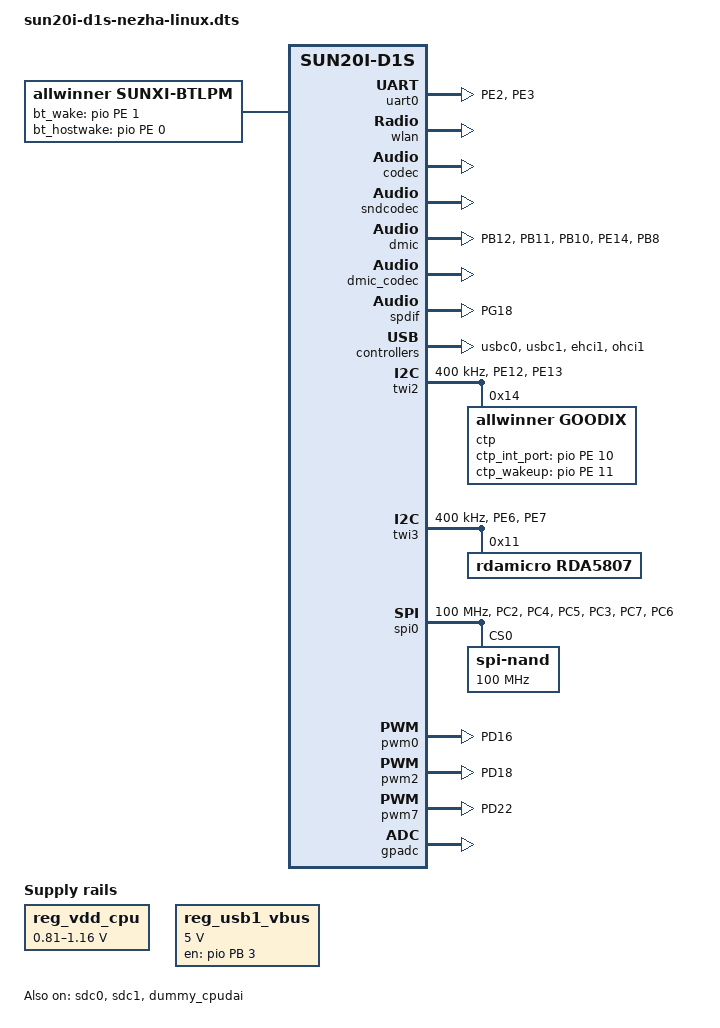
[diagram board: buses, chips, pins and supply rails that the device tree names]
/*
 * Allwinner Technology CO., Ltd. sun20iw1p1 fpga.
 *
 * fpga support.
 */

/dts-v1/;

#include "sun20iw1p1-linux.dtsi"

/{
	compatible = "allwinner,d1", "arm,sun20iw1p1", "allwinner,sun20iw1p1";

	aliases {
		dsp0 = &dsp0;
		dsp0_gpio_int= &dsp0_gpio_int;
	};

	dsp0: dsp0 {
		compatible = "allwinner,sun20iw1-dsp";
		status = "disabled";
	};

	dsp0_gpio_int: dsp0_gpio_int {
		compatible = "allwinner,sun20iw1-dsp-gpio-int";
		pin-group = "PB", "PC", "PD", "PE";
		status = "disabled";
	};

	reg_vdd_cpu: vdd-cpu {
		compatible = "sunxi-pwm-regulator";
		pwms = <&pwm 0 5000 1>;
		regulator-name = "vdd_cpu";
		regulator-min-microvolt = <810000>;
		regulator-max-microvolt = <1160000>;
		regulator-ramp-delay = <25>;
		regulator-always-on;
		regulator-boot-on;
		status = "okay";
	};

	reg_usb1_vbus: usb1-vbus {
		compatible = "regulator-fixed";
		regulator-name = "usb1-vbus";
		regulator-min-microvolt = <5000000>;
		regulator-max-microvolt = <5000000>;
		regulator-enable-ramp-delay = <1000>;
		gpio = <&pio PB 3 GPIO_ACTIVE_HIGH>;
		enable-active-high;
	};
};

&CPU0 {
	cpu-supply = <&reg_vdd_cpu>;
};

&pio {
	sdc0_pins_a: sdc0@0 {
		allwinner,pins = "PF0", "PF1", "PF2",
				 "PF3", "PF4", "PF5";
		allwinner,function = "sdc0";
		allwinner,muxsel = <2>;
		allwinner,drive = <3>;
		allwinner,pull = <1>;
		pins = "PF0", "PF1", "PF2",
		       "PF3", "PF4", "PF5";
		function = "sdc0";
		drive-strength = <30>;
		bias-pull-up;
		power-source = <3300>;
	};


	sdc0_pins_b: sdc0@1 {
		pins = "PF0", "PF1", "PF2",
		       "PF3", "PF4", "PF5";
		function = "sdc0";
		drive-strength = <30>;
		bias-pull-up;
		power-source = <1800>;
	};

	sdc0_pins_c: sdc0@2 {
		pins = "PF0", "PF1", "PF2",
			"PF3", "PF4", "PF5";
		function = "gpio_in";
	};

	/* TODO: add jtag pin */
	sdc0_pins_d: sdc0@3 {
		pins = "PF2", "PF4";
		function = "uart0";
		drive-strength = <10>;
		bias-pull-up;
	};

	sdc0_pins_e: sdc0@4 {
		pins = "PF0", "PF1", "PF3",
			"PF5";
		function = "jtag";
		drive-strength = <10>;
		bias-pull-up;
	};


	sdc1_pins_a: sdc1@0 {
		pins = "PG0", "PG1", "PG2",
		       "PG3", "PG4", "PG5";
		function = "sdc1";
		drive-strength = <30>;
		bias-pull-up;
	};

	sdc1_pins_b: sdc1@1 {
		pins = "PG0", "PG1", "PG2",
		       "PG3", "PG4", "PG5";
			function = "gpio_in";
	};

	sdc2_pins_a: sdc2@0 {
		allwinner,pins = "PC2", "PC3", "PC4",
				 "PC5", "PC6", "PC7";
		allwinner,function = "sdc2";
		allwinner,muxsel = <3>;
		allwinner,drive = <3>;
		allwinner,pull = <1>;
		pins = "PC2", "PC3", "PC4",
			"PC5", "PC6", "PC7";
		function = "sdc2";
		drive-strength = <30>;
		bias-pull-up;
	};

	sdc2_pins_b: sdc2@1 {
		pins = "PC2", "PC3", "PC4",
		       "PC5", "PC6", "PC7";
		function = "gpio_in";
	};

	wlan_pins_a:wlan@0 {
		pins = "PG11";
		function = "clk_fanout1";
	};

    uart0_pins_a: uart0_pins@0 {  /* For EVB1 board */
        pins = "PE2", "PE3";
        function = "uart0";
        drive-strength = <10>;
        bias-pull-up;
    };

    uart0_pins_b: uart0_pins@1 {  /* For EVB1 board */
        pins = "PE2", "PE3";
        function = "gpio_in";
    };

	uart1_pins_a: uart1_pins@0 {  /* For EVB1 board */
		pins = "PG6", "PG7", "PG8", "PG9";
		function = "uart1";
		drive-strength = <10>;
		bias-pull-up;
	};

	uart1_pins_b: uart1_pins@1 {  /* For EVB1 board */
		pins = "PG6", "PG7", "PG8", "PG9";
		function = "gpio_in";
	};

	uart2_pins_a: uart2_pins@0 {  /* For EVB1 board */
		pins = "PC0", "PC1";
		function = "uart2";
		drive-strength = <10>;
		bias-pull-up;
	};

	uart2_pins_b: uart2_pins@1 {  /* For EVB1 board */
		pins = "PC0", "PC1";
		function = "gpio_in";
	};

	uart3_pins_a: uart3_pins@0 {  /* For EVB1 board */
		pins = "PB6", "PB7";
		function = "uart3";
		muxsel = <7>;
		drive-strength = <10>;
		bias-pull-up;
	};

	uart3_pins_b: uart3_pins@1 {  /* For EVB1 board */
		pins = "PB6", "PB7";
		function = "gpio_in";
	};

	twi0_pins_a: twi0@0 {
		pins = "PB10", "PB11";	/*sck sda*/
		function = "twi0";
		drive-strength = <10>;
	};

	twi0_pins_b: twi0@1 {
		pins = "PB10", "PB11";
		function = "gpio_in";
	};

	twi1_pins_a: twi1@0 {
		pins = "PB4", "PB5";
		function = "twi1";
		drive-strength = <10>;
	};

	twi1_pins_b: twi1@1 {
		pins = "PB4", "PB5";
		function = "gpio_in";
	};

    twi2_pins_a: twi2@0 {
            pins = "PE12", "PE13";
            function = "twi2";
            drive-strength = <10>;
    };

    twi2_pins_b: twi2@1 {
            pins = "PE12", "PE13";
            function = "gpio_in";
    };

	twi3_pins_a: twi3@0 {
		pins = "PE6", "PE7";
		function = "twi3";
		drive-strength = <10>;
	};

	twi3_pins_b: twi3@1 {
		pins = "PE6", "PE7";
		function = "gpio_in";
	};

	gmac_pins_a: gmac@0 {
		pins = "PE0", "PE1", "PE2", "PE3",
		       "PE4", "PE5", "PE6", "PE7",
		       "PE8", "PE9", "PE10", "PE11",
		       "PE12", "PE13", "PE14", "PE15";
		function = "gmac0";
		drive-strength = <10>;
	};

	gmac_pins_b: gmac@1 {
		pins = "PE0", "PE1", "PE2", "PE3",
		       "PE4", "PE5", "PE6", "PE7",
		       "PE8", "PE9", "PE10", "PE11",
		       "PE12", "PE13", "PE14", "PE15";
		function = "gpio_in";
	};

	dmic_pins_a: dmic@0 {
		/* DMIC_PIN: CLK, DATA0, DATA1, DATA2, DATA3*/
		pins = "PB12", "PB11", "PB10", "PE14", "PB8";
		function = "dmic";
		drive-strength = <20>;
		bias-disable;
	};

	dmic_pins_b: dmic@1 {
		pins = "PB12", "PB11", "PB10", "PE14", "PB8";
		function = "io_disabled";
		drive-strength = <20>;
		bias-disable;
	};

	daudio0_pins_a: daudio0@0 {
		pins = "PE17", "PE16", "PE15", "PE14", "PE13";
		function = "i2s0";
		drive-strength = <20>;
		bias-disable;
	};

	daudio0_pins_b: daudio0_sleep@0 {
		pins = "PE17", "PE16", "PE15", "PE14", "PE13";
		function = "io_disabled";
		drive-strength = <20>;
		bias-disable;
	};

	daudio1_pins_a: daudio1@0 {
		pins = "PG11", "PG12", "PG13", "PG14", "PG15";
		function = "i2s1";
		drive-strength = <20>;
		bias-disable;
	};

	daudio1_pins_b: daudio1_sleep@0 {
		pins = "PG11", "PG12", "PG13", "PG14", "PG15";
		function = "io_disabled";
		drive-strength = <20>;
		bias-disable;
	};

	daudio2_pins_a: daudio2@0 {
		/* I2S_PIN: MCLK, BCLK, LRCK */
		pins = "PF6", "PF3", "PF5";
		function = "i2s2";
		drive-strength = <20>;
		bias-disable;
	};

	daudio2_pins_b: daudio2@1 {
		/* I2S_PIN: DOUT0 */
		pins = "PF1";
		function = "i2s2_dout";
		drive-strength = <20>;
		bias-disable;
	};

	daudio2_pins_c: daudio2@2 {
		/* I2S_PIN: DIN0 */
		pins = "PF0";
		function = "i2s2_din";
		drive-strength = <20>;
		bias-disable;
	};

	daudio2_pins_d: daudio2_sleep@0 {
		pins = "PF6", "PF3", "PF5", "PF1", "PF0";
		function = "io_disabled";
		drive-strength = <20>;
		bias-disable;
	};

	spdif_pins_a: spdif@0 {
		/* SPDIF_PIN: SPDIF_OUT */
		pins = "PG18";
		function = "spdif";
		drive-strength = <20>;
		bias-disable;
	};

	spdif_pins_b: spdif_sleep@0 {
		pins = "PG18";
		function = "io_disabled";
		drive-strength = <20>;
		bias-disable;
	};

	spi0_pins_a: spi0@0 {
		pins = "PC2", "PC4", "PC5"; /* clk, mosi, miso */
		function = "spi0";
		muxsel = <2>;
		drive-strength = <20>;
	};

	spi0_pins_b: spi0@1 {
		pins = "PC3", "PC7", "PC6";
		function = "spi0";
		muxsel = <2>;
		drive-strength = <20>;
		bias-pull-up;   /* cs, hold, wp should be pulled up */
	};

	spi0_pins_c: spi0@2 {
		pins = "PC2", "PC3", "PC4", "PC5","PC6", "PC7";
		function = "gpio_in";
		muxsel = <0>;
		drive-strength = <10>;
	};

	spi1_pins_a: spi1@0 {
		pins = "PD11", "PD12", "PD13"; /* clk, mosi, miso */
		function = "spi1";
		drive-strength = <10>;
	};

	spi1_pins_b: spi1@1 {
		pins = "PD10", "PD14", "PD15";
		function = "spi1";
		drive-strength = <10>;
		bias-pull-up;   /* cs, hold, wp should be pulled up */
	};

	spi1_pins_c: spi1@2 {
		pins = "PD10", "PD11", "PD12", "PD13","PD14", "PD15";
		function = "gpio_in";
		drive-strength = <10>;
	};

	ledc_pins_a: ledc@0 {
		pins = "PC0";
		function = "ledc";
		drive-strength = <10>;
	};

	ledc_pins_b: ledc@1 {
		pins = "PC0";
		function = "gpio_in";
	};

	pwm0_pin_a: pwm0@0 {
		pins = "PD16";
		function = "pwm0";
		drive-strength = <10>;
		bias-pull-up;
	};

	pwm0_pin_b: pwm0@1 {
		pins = "PD16";
		function = "gpio_in";
		bias-disable;
	};

	pwm2_pin_a: pwm2@0 {
		pins = "PD18";
		function = "pwm2";
		drive-strength = <10>;
		bias-pull-up;
	};

	pwm2_pin_b: pwm2@1 {
		pins = "PD18";
		function = "gpio_out";
	};

	pwm7_pin_a: pwm7@0 {
		pins = "PD22";
		function = "pwm7";
		drive-strength = <10>;
		bias-pull-up;
	};

	pwm7_pin_b: pwm7@1 {
		pins = "PD22";
		function = "gpio_in";
	};


	s_cir0_pins_a: s_cir@0 {
		pins = "PB7";
		function = "ir";
		drive-strength = <10>;
		bias-pull-up;
	};

	s_cir0_pins_b: s_cir@1 {
		pins = "PB7";
		function = "gpio_in";
	};

	ir1_pins_a: ir1@0 {
		pins = "PB0";
		function = "ir";
		drive-strength = <10>;
		bias-pull-up;
	};

	ir1_pins_b: ir1@1 {
		pins = "PB0";
		function = "gpio_in";
	};

	can0_pins_a: can0_pins_a@0 {
		pins = "PB2", "PB3";
		function = "can0";
		drive-strength = <10>;
		bias-pull-up;
	};

	can0_pins_b: can0_pins_b@1 {
		pins = "PB2", "PB3";
		function = "gpio_in";
	};

	can1_pins_a: can1_pins_a@0 {
		pins = "PB4", "PB5";
		function = "can1";
		drive-strength = <10>;
		bias-pull-up;
	};

	can1_pins_b: can1_pins_b@1 {
		pins = "PB4", "PB5";
		function = "gpio_in";
	};
};

&uart0 {
	pinctrl-names = "default", "sleep";
	pinctrl-0 = <&uart0_pins_a>;
	pinctrl-1 = <&uart0_pins_b>;
	status = "okay";
};

&uart1 {
	pinctrl-names = "default", "sleep";
	pinctrl-0 = <&uart1_pins_a>;
	pinctrl-1 = <&uart1_pins_b>;
	status = "disabled";
};

&uart2 {
	pinctrl-names = "default", "sleep";
	pinctrl-0 = <&uart2_pins_a>;
	pinctrl-1 = <&uart2_pins_b>;
	status = "disabled";
};

&uart3 {
	pinctrl-names = "default", "sleep";
	pinctrl-0 = <&uart3_pins_a>;
	pinctrl-1 = <&uart3_pins_b>;
	status = "disabled";
};

&soc {
	card0_boot_para@2 {
		/*
		 * Avoid dtc compiling warnings.
		 * @TODO: Developer should modify this to the actual value
		 */
		reg = <0x0 0x2 0x0 0x0>;
		device_type = "card0_boot_para";
		card_ctrl = <0x0>;
		card_high_speed = <0x1>;
		card_line = <0x4>;
		pinctrl-0 = <&sdc0_pins_a>;
	};

	card2_boot_para@3 {
		/*
		 * Avoid dtc compiling warnings.
		 * @TODO: Developer should modify this to the actual value
		 */
		reg = <0x0 0x3 0x0 0x0>;
		device_type = "card2_boot_para";
		card_ctrl = <0x2>;
		card_high_speed = <0x1>;
		card_line = <0x4>;
		pinctrl-0 = <&sdc2_pins_a>;
		/*pinctrl-0 = <&sdc0_pins_a>;*/
		/*sdc_ex_dly_used = <0x2>;*/
		sdc_io_1v8 = <0x1>;
		/*sdc_type = "tm4";*/
		sdc_tm4_hs200_max_freq = <150>;
		sdc_tm4_hs400_max_freq = <100>;
		sdc_ex_dly_used = <2>;
		/*sdc_tm4_win_th = <8>;*/
		/*sdc_dis_host_caps = <0x180>;*/
	};

	rfkill: rfkill@0 {
		compatible    = "allwinner,sunxi-rfkill";
		chip_en;
		power_en;
		pinctrl-0 = <&wlan_pins_a>;
		pinctrl-names = "default";
		status        = "okay";

		wlan: wlan@0 {
			compatible    = "allwinner,sunxi-wlan";
			wlan_busnum    = <0x1>;
			wlan_regon    = <&pio PE 3 GPIO_ACTIVE_HIGH>;
			wlan_hostwake  = <&pio PG 10 GPIO_ACTIVE_HIGH>;
			/*wlan_power    = "VCC-3V3";*/
			/*wlan_power_vol = <3300000>;*/
			/*interrupt-parent = <&pio>;
			interrupts = < PG 10 IRQ_TYPE_LEVEL_HIGH>;*/
			wakeup-source;

		};
		
		bt: bt@0 {
			compatible    = "allwinner,sunxi-bt";
			/*bt_power_num = <0x01>;*/
			/*bt_power      = "axp803-dldo1";*/
			/*bt_io_regulator = "axp803-dldo1";*/
			/*bt_io_vol = <3300000>;*/
			/*bt_power_vol = <330000>;*/
			bt_rst_n      = <&pio PE 2 GPIO_ACTIVE_LOW>;
			status        = "okay";
		};
	};

	btlpm: btlpm@0 {
		compatible  = "allwinner,sunxi-btlpm";
		uart_index  = <0x1>;
		bt_wake     = <&pio PE 1 GPIO_ACTIVE_HIGH>;
		bt_hostwake = <&pio PE 0 GPIO_ACTIVE_HIGH>;
		status      = "okay";
	};

	addr_mgt: addr_mgt@0 {
		compatible     = "allwinner,sunxi-addr_mgt";
		type_addr_wifi = <0x0>;
		type_addr_bt   = <0x0>;
		type_addr_eth  = <0x0>;
		status         = "okay";
	};
};

&sdc2 {
	non-removable;
	bus-width = <4>;
	mmc-ddr-1_8v;
	mmc-hs200-1_8v;
	no-sdio;
	no-sd;
	ctl-spec-caps = <0x308>;
	cap-mmc-highspeed;
	sunxi-power-save-mode;
	sunxi-dis-signal-vol-sw;
	mmc-bootpart-noacc;
	max-frequency = <150000000>;
	/*vmmc-supply = <&reg_dcdc1>;*/
	/*emmc io vol 3.3v*/
	/*vqmmc-supply = <&reg_aldo1>;*/
	/*emmc io vol 1.8v*/
	/*vqmmc-supply = <&reg_eldo1>;*/
	status = "disabled";
};

&sdc0 {
	bus-width = <4>;
	/*cd-gpios = <&pio PF 6 (GPIO_ACTIVE_HIGH | GPIO_PULL_DOWN)>;*/
	/*non-removable;*/
	/*broken-cd;*/
	/*cd-inverted;*/
	/*data3-detect;*/
	/*card-pwr-gpios = <&pio PH 14 1 1 2 0xffffffff>;*/
	/*cd-used-24M;*/
	cap-sd-highspeed;
	/*sd-uhs-sdr50;*/
	/*sd-uhs-ddr50;*/
	/*sd-uhs-sdr104;*/
	broken-cd;
	no-sdio;
	no-mmc;
	sunxi-power-save-mode;
	/*sunxi-dis-signal-vol-sw;*/
	max-frequency = <150000000>;
	ctl-spec-caps = <0x8>;
	/*vmmc-supply = <&reg_dcdc1>;*/
	/*vqmmc33sw-supply = <&reg_dcdc1>;*/
	/*vdmmc33sw-supply = <&reg_dcdc1>;*/
	/*vqmmc18sw-supply = <&reg_eldo1>;*/
	/*vdmmc18sw-supply = <&reg_eldo1>;*/
	status = "okay";
};

&sdc1 {
	bus-width = <4>;
	no-mmc;
	no-sd;
	cap-sd-highspeed;
	/*sd-uhs-sdr12*/
	/*sd-uhs-sdr25;*/
	/*sd-uhs-sdr50;*/
	/*sd-uhs-ddr50;*/
	/*sd-uhs-sdr104;*/
	/*sunxi-power-save-mode;*/
	/*sunxi-dis-signal-vol-sw;*/
	cap-sdio-irq;
	keep-power-in-suspend;
	ignore-pm-notify;
	max-frequency = <150000000>;
	ctl-spec-caps = <0x8>;
	status = "okay";
};

/*
tvd configuration
used                   (create device, 0: do not create device, 1: create device)
agc_auto_enable        (0: agc manual mode,agc_manual_value is valid; 1: agc auto mode)
agc_manual_value       (agc manual value, default value is 64)
cagc_enable            (cagc        0: disable, 1: enable)
fliter_used            (3d fliter   0: disable, 1: enable)
support two PMU power  (tvd_power0, tvd_power1)
support two GPIO power (tvd_gpio0, tvd_gpio1)
NOTICE: If tvd need pmu power or gpio power,params need be configured under [tvd]
tvd_sw                 (the switch of all tvd driver.)
tvd_interface          (0: cvbs, 1: ypbpr,)
tvd_format             (0:TVD_PL_YUV420 , 1: MB_YUV420, 2: TVD_PL_YUV422)
tvd_system             (0:ntsc, 1:pal)
tvd_row                (total row number in multi channel mode 1-2)
tvd_column             (total column number in multi channel mode 1-2)
tvd_channelx_en        (0:disable, 1~4:position in multi channel mode,In single channel
                       mode,mean enable)
tvd_row*tvd_column is the total tvd channel number to be used in multichannel mode
+--------------------+--------------------+
|                    |                    |
|                    |                    |
|         1          |         2          |
|                    |                    |
|                    |                    |
+--------------------+--------------------+
|                    |                    |
|                    |                    |
|         3          |         4          |
|                    |                    |
|                    |                    |
+--------------------+--------------------+
*/

&tvd {
	tvd_sw          = <1>;
	tvd_interface   = <0>;
	tvd_format      = <0>;
	tvd_system      = <1>;
	tvd_row         = <1>;
	tvd_column      = <1>;
	tvd_channel0_en = <1>;
	tvd_channel1_en = <0>;
	tvd_channel2_en = <0>;
	tvd_channel3_en = <0>;
	/*tvd_gpio0 = <&pio PD 22 GPIO_ACTIVE_HIGH>;*/
	/*tvd_gpio1 = <&pio PD 23 GPIO_ACTIVE_HIGH>;*/
	/*tvd_gpio2 = <&pio PD 24 GPIO_ACTIVE_HIGH>;*/
	/*	dc1sw-supply = <&reg_dc1sw>;*/
	/*	eldo3-supply = <&reg_eldo3>;*/
	/*tvd_power0      = "dc1sw"*/
	/*tvd_power1      = "eldo3"*/
};

&tvd0 {
	used                    = <1>;
	agc_auto_enable         = <1>;
	agc_manual_value        = <64>;
	cagc_enable             = <1>;
	fliter_used             = <1>;
};

/* Audio Driver modules */
&sunxi_rpaf_dsp0 {
	status = "disabled";
};

/* if audiocodec is used, sdc0 and uart0 should be closed to enable PA. */
&codec {
	/* MIC and headphone gain setting */
	mic1gain 	= <0x1F>;
	mic2gain 	= <0x1F>;
	mic3gain 	= <0x1F>;
	/* ADC/DAC DRC/HPF func enabled */
        /* 0x1:DAP_HP_EN; 0x2:DAP_SPK_EN; 0x3:DAP_HPSPK_EN */
	adcdrc_cfg 	= <0x0>;
	adchpf_cfg 	= <0x1>;
	dacdrc_cfg 	= <0x0>;
	dachpf_cfg 	= <0x0>;
	/* Volume about */
	digital_vol 	= <0x00>;
	lineout_vol 	= <0x1a>;
	headphonegain	= <0x03>;
	/* Pa enabled about */
	pa_level 	= <0x01>;
	pa_pwr_level 	= <0x01>;
	pa_msleep_time 	= <0x78>;
	/* gpio-spk	= <&pio PF 2 GPIO_ACTIVE_HIGH>;*/
	/* gpio-spk-pwr	= <&pio PF 4 GPIO_ACTIVE_HIGH>; */
	/* CMA config about */
	playback_cma	= <128>;
	capture_cma	= <256>;
	/* regulator about */
	/* avcc-supply	= <&reg_aldo1>; */
	/* hpvcc-supply	= <&reg_eldo1>; */
	status = "okay";
};

&sndcodec {
	hp_detect_case = <0x01>;
	jack_enable = <0x01>;
	status = "okay";
};

&dummy_cpudai {
	/* CMA config about */
	playback_cma = <128>;
	capture_cma = <256>;
	status = "okay";
};

&dmic {
	pinctrl-names   = "default","sleep";
	pinctrl-0       = <&dmic_pins_a>;
	pinctrl-1       = <&dmic_pins_b>;
	status = "okay";
};

&dmic_codec {
	status = "okay";
};

&sounddmic {
	status = "okay";
};

/*-----------------------------------------------------------------------------
 * pcm_lrck_period	16/32/64/128/256
 *			(set 0x20 for HDMI audio out)
 * slot_width_select	16bits/20bits/24bits/32bits
 *			(set 0x20 for HDMI audio out)
 * frametype		0 --> short frame = 1 clock width;
 *			1 --> long frame = 2 clock width;
 * tdm_config		0 --> pcm
 *			1 --> i2s
 *			(set 0x01 for HDMI audio out)
 * mclk_div		0 --> not output
 *			1/2/4/6/8/12/16/24/32/48/64/96/128/176/192
 *			(set mclk as external codec clk source, freq is pll_audio/mclk_div)
 * pinctrl_used		0 --> I2S/PCM use for internal (e.g. HDMI)
 *			1 --> I2S/PCM use for external audio
 * daudio_type:		0 --> external audio type
 *			1 --> HDMI audio type
 *---------------------------------------------------------------------------*/
&daudio0 {
	mclk_div 	= <0x01>;
	frametype 	= <0x00>;
	tdm_config 	= <0x01>;
	sign_extend 	= <0x00>;
	msb_lsb_first 	= <0x00>;
	pcm_lrck_period = <0x80>;
	slot_width_select = <0x20>;
	pinctrl-names   = "default", "sleep";
	pinctrl-0       = <&daudio0_pins_a>;
	pinctrl-1       = <&daudio0_pins_b>;
	pinctrl_used	= <0x0>;
	status = "disabled";
};

/*-----------------------------------------------------------------------------
 * simple-audio-card,name	name of sound card, e.g.
 *				"snddaudio0" --> use for external audio
 *				"sndhdmi" --> use for HDMI audio
 * sound-dai			"snd-soc-dummy" --> use for I2S
 *				"hdmiaudio" --> use for HDMI audio
 *				"ac108" --> use for external audio of ac108
 *---------------------------------------------------------------------------*/
&sounddaudio0 {
	/* simple-audio-card,format = "i2s"; */
	/* simple-audio-card,frame-master = <&daudio0_master>; */
	/* simple-audio-card,bitclock-master = <&daudio0_master>; */
	/* simple-audio-card,bitclock-inversion; */
	/* simple-audio-card,frame-inversion; */
	status = "disabled";
	daudio0_master: simple-audio-card,codec {
		/* sound-dai = <&ac108>; */
	};
};

&daudio1 {
	mclk_div 	= <0x01>;
	frametype 	= <0x00>;
	tdm_config 	= <0x01>;
	sign_extend 	= <0x00>;
	msb_lsb_first 	= <0x00>;
	pcm_lrck_period = <0x80>;
	slot_width_select = <0x20>;
	pinctrl-names   = "default", "sleep";
	pinctrl-0       = <&daudio1_pins_a>;
	pinctrl-1       = <&daudio1_pins_b>;
	pinctrl_used	= <0x0>;
	status = "disabled";
};

&sounddaudio1 {
	status = "disabled";
	daudio1_master: simple-audio-card,codec {
		/* sound-dai = <&ac108>; */
	};
};

&daudio2 {
	mclk_div 	= <0x01>;
	frametype 	= <0x00>;
	tdm_config 	= <0x01>;
	sign_extend 	= <0x00>;
	tx_data_mode 	= <0x00>;
	rx_data_mode 	= <0x00>;
	msb_lsb_first 	= <0x00>;
	pcm_lrck_period = <0x80>;
	slot_width_select = <0x20>;
	asrc_function_en  = <0x00>;
	pinctrl-names   = "default", "sleep";
	pinctrl-0       = <&daudio2_pins_a &daudio2_pins_b &daudio2_pins_c>;
	pinctrl-1       = <&daudio2_pins_d>;
	pinctrl_used	= <0x1>;
	daudio_type	= <0x0>;
	status = "disabled";
};

/* if HDMI audio is used, daudio2 should be enable. */
&hdmiaudio {
	status = "disabled";
};

&sounddaudio2 {
	status = "okay";
	daudio2_master: simple-audio-card,codec {
		/* sound-dai = <&ac108>; */
	};
};

&spdif {
	pinctrl-names   = "default","sleep";
	pinctrl-0       = <&spdif_pins_a>;
	pinctrl-1       = <&spdif_pins_b>;
	status = "okay";
};

&soundspdif {
	status = "okay";
};

/*
 *usb_port_type: usb mode. 0-device, 1-host, 2-otg.
 *usb_detect_type: usb hotplug detect mode. 0-none, 1-vbus/id detect, 2-id/dpdm detect.
 *usb_detect_mode: 0-thread scan, 1-id gpio interrupt.
 *usb_id_gpio: gpio for id detect.
 *usb_det_vbus_gpio: gpio for id detect. gpio or "axp_ctrl";
 *usb_wakeup_suspend：0-SUPER_STANDBY, 1-USB_STANDBY.
 */
&usbc0 {
	device_type = "usbc0";
	usb_port_type = <0x0>;
	usb_detect_type = <0x0>;
	usb_detect_mode = <0>;
	usb_id_gpio = <&pio PB 6 GPIO_ACTIVE_HIGH>; /*unused */
	enable-active-high;
	usb_det_vbus_gpio = <&pio PB 2 GPIO_ACTIVE_HIGH>;/*unused */
	usb_wakeup_suspend = <0>;
	usb_serial_unique = <0>;
	usb_serial_number = "20080411";
	rndis_wceis = <1>;
	status = "okay";
};

&ehci0 {
	drvvbus-supply = <&reg_usb1_vbus>;
};

&ohci0 {
	drvvbus-supply = <&reg_usb1_vbus>;
};

&usbc1 {
	device_type = "usbc1";
	usb_port_type = <1>;
	sb_detect_type = <1>;
	usb_regulator_io = "nocare";
	usb_wakeup_suspend = <0>;
	status = "okay";
};

&ehci1 {
	status = "okay";
};

&ohci1 {
	status = "okay";
};

&twi0 {
	clock-frequency = <400000>;
	pinctrl-0 = <&twi0_pins_a>;
	pinctrl-1 = <&twi0_pins_b>;
	pinctrl-names = "default", "sleep";
	status = "disabled";

	eeprom@50 {
		compatible = "atmel,24c16";
		reg = <0x50>;
		status = "disabled";
	};
};

&twi1 {
	clock-frequency = <400000>;
	pinctrl-0 = <&twi1_pins_a>;
	pinctrl-1 = <&twi1_pins_b>;
	pinctrl-names = "default", "sleep";
	status = "disabled";
};

&twi2 {
	clock-frequency = <400000>;
	pinctrl-0 = <&twi2_pins_a>;
	pinctrl-1 = <&twi2_pins_b>;
	pinctrl-names = "default", "sleep";
	dmas = <&dma 45>, <&dma 45>;
	dma-names = "tx", "rx";
	status = "okay";

	/* pcf8574-usage:
	 * only use gpio0~7, 0 means PP0.
	 * pin set:
	 * gpios = <&pcf8574 0 GPIO_ACTIVE_LOW>;
	 * interrupt set:
	 * interrupt-parent = <&pcf8574>;
	 * interrupts = <0 IRQ_TYPE_EDGE_FALLING>;
	 */
	pcf8574: gpio@38 {
		compatible = "nxp,pcf8574";
		reg = <0x38>;
		gpio_base = <2020>;
		gpio-controller;
		#gpio-cells = <2>;
		interrupt-controller;
		#interrupt-cells = <2>;
		interrupt-parent = <&pio>;
		interrupts = <PB 2 IRQ_TYPE_EDGE_FALLING>;
		status = "disabled";
	};

	ctp@14 {
    	compatible = "allwinner,goodix";
        device_type = "ctp";
        reg = <0x14>;
        status = "okay";
        ctp_name = "gt9xxnew_ts";
        ctp_twi_id = <0x2>;
        ctp_twi_addr = <0x14>;
        ctp_screen_max_x = <0x320>;
        ctp_screen_max_y = <0x1e0>;
        ctp_revert_x_flag = <0x0>;
        ctp_revert_y_flag = <0x0>;
        ctp_exchange_x_y_flag = <0x0>;
        ctp_int_port = <&pio PE 10 GPIO_ACTIVE_HIGH>;
        ctp_wakeup = <&pio PE 11 GPIO_ACTIVE_HIGH>;
        /*ctp-supply = <&reg_aldo2>;*/
        /*ctp_power_ldo = <&reg_aldo2>;*/
        /*ctp_power_ldo_vol = <3300>;*/
	};
};

&twi3 {
	clock-frequency = <400000>;
	pinctrl-0 = <&twi3_pins_a>;
	pinctrl-1 = <&twi3_pins_b>;
	pinctrl-names = "default", "sleep";
	status = "okay";
	rda5807@11 {
		compatible = "rdamicro,rda5807";
		reg = <0x11>;
		lnap;
		lna-current = <2500>;
		analog-out;
	};
};

&gmac0 {
	phy-mode = "rgmii";
	use_ephy25m = <1>;
	pinctrl-0 = <&gmac_pins_a>;
	pinctrl-1 = <&gmac_pins_b>;
	pinctrl-names = "default", "sleep";
	phy-rst = <&pio PE 16 GPIO_ACTIVE_HIGH>;
	tx-delay = <3>; /*2~4*/
	rx-delay = <0>;
	status = "disabled";
};

&spi0 {
	clock-frequency = <100000000>;
	pinctrl-0 = <&spi0_pins_a &spi0_pins_b>;
	pinctrl-1 = <&spi0_pins_c>;
	pinctrl-names = "default", "sleep";
	/*spi-supply = <&reg_dcdc1>;*/
	spi_slave_mode = <0>;
	spi0_cs_number = <1>;
    spi0_cs_bitmap = <1>;
	status = "okay";

	spi-nand@0 {
		compatible = "spi-nand";
		spi-max-frequency=<100000000>;
		reg = <0x0>;
		spi-rx-bus-width=<0x01>;
		spi-tx-bus-width=<0x01>;
		status="okay";
	};

	spi-nor@0 {
		compatible = "jedec,spi-nor";
		spi-max-frequency=<30000000>;
		reg = <0x0>;
		spi-rx-bus-width=<0x01>;
		spi-tx-bus-width=<0x01>;
		status="disabled";
	};
};

&spi1 {
	clock-frequency = <100000000>;
	pinctrl-0 = <&spi1_pins_a &spi1_pins_b>;
	pinctrl-1 = <&spi1_pins_c>;
	pinctrl-names = "default", "sleep";
	spi_slave_mode = <0>;
	status = "disabled";

	spi_board1@0 {
		device_type = "spi_board1";
		compatible = "rohm,dh2228fv";
		spi-max-frequency = <0x5f5e100>;
		reg = <0x0>;
		spi-rx-bus-width = <0x4>;
		spi-tx-bus-width = <0x4>;
		status = "disabled";
	};
};

&ledc {
	pinctrl-names = "default", "sleep";
	pinctrl-0 = <&ledc_pins_a>;
	pinctrl-1 = <&ledc_pins_b>;
	led_count = <12>;
	output_mode = "GRB";
	reset_ns = <84>;
	t1h_ns = <800>;
	t1l_ns = <320>;
	t0h_ns = <300>;
	t0l_ns = <800>;
	wait_time0_ns = <84>;
	wait_time1_ns = <84>;
	wait_data_time_ns = <600000>;
	status	= "disabled";
};

&keyboard0 {
	key0 = <210 0x160>;
	wakeup-source;
	status = "disabled";
};

/*----------------------------------------------------------------------------------
disp init configuration

disp_mode             (0:screen0<screen0,fb0>)
screenx_output_type   (0:none; 1:lcd; 2:tv; 3:hdmi;5:vdpo)
screenx_output_mode   (used for hdmi output, 0:480i 1:576i 2:480p 3:576p 4:720p50)
                      (5:720p60 6:1080i50 7:1080i60 8:1080p24 9:1080p50 10:1080p60)
screenx_output_format (for hdmi, 0:RGB 1:yuv444 2:yuv422 3:yuv420)
screenx_output_bits   (for hdmi, 0:8bit 1:10bit 2:12bit 2:16bit)
screenx_output_eotf   (for hdmi, 0:reserve 4:SDR 16:HDR10 18:HLG)
screenx_output_cs     (for hdmi, 0:undefined  257:BT709 260:BT601  263:BT2020)
screenx_output_dvi_hdmi (for hdmi, 0:undefined 1:dvi mode 2:hdmi mode)
screen0_output_range   (for hdmi, 0:default 1:full 2:limited)
screen0_output_scan    (for hdmi, 0:no data 1:overscan 2:underscan)
screen0_output_aspect_ratio  (for hdmi, 8-same as original picture 9-4:3 10-16:9 11-14:9)
fbx format            (4:RGB655 5:RGB565 6:RGB556 7:ARGB1555 8:RGBA5551 9:RGB888 10:ARGB8888 12:ARGB4444)
fbx pixel sequence    (0:ARGB 1:BGRA 2:ABGR 3:RGBA)
fb0_scaler_mode_enable(scaler mode enable, used FE)
fbx_width,fbx_height  (framebuffer horizontal/vertical pixels, fix to output resolution while equal 0)
lcdx_backlight        (lcd init backlight,the range:[0,256],default:197
lcdx_yy               (lcd init screen bright/contrast/saturation/hue, value:0~100, default:50/50/57/50)
lcd0_contrast         (LCD contrast, 0~100)
lcd0_saturation       (LCD saturation, 0~100)
lcd0_hue              (LCD hue, 0~100)
framebuffer software rotation setting:
disp_rotation_used:   (0:disable; 1:enable,you must set fbX_width to lcd_y,
set fbX_height to lcd_x)
degreeX:              (X:screen index; 0:0 degree; 1:90 degree; 3:270 degree)
degreeX_Y:            (X:screen index; Y:layer index 0~15; 0:0 degree; 1:90 degree; 3:270 degree)
devX_output_type : config output type in bootGUI framework in UBOOT-2018.
				   (0:none; 1:lcd; 2:tv; 4:hdmi;)
devX_output_mode : config output resolution(see include/video/sunxi_display2.h) of bootGUI framework in UBOOT-2018
devX_screen_id   : config display index of bootGUI framework in UBOOT-2018
devX_do_hpd      : whether do hpd detectation or not in UBOOT-2018
chn_cfg_mode     : Hardware DE channel allocation config. 0:single display with 6
				   channel, 1:dual display with 4 channel in main display and 2 channel in second
                   display, 2:dual display with 3 channel in main display and 3 channel in second
                   in display.
----------------------------------------------------------------------------------*/
&disp {
	disp_init_enable         = <1>;
	disp_mode                = <0>;

	screen0_output_type      = <1>;
	screen0_output_mode      = <4>;

	screen1_output_type      = <3>;
	screen1_output_mode      = <10>;

	screen1_output_format    = <0>;
	screen1_output_bits      = <0>;
	screen1_output_eotf      = <4>;
	screen1_output_cs        = <257>;
	screen1_output_dvi_hdmi  = <2>;
	screen1_output_range     = <2>;
	screen1_output_scan      = <0>;
	screen1_output_aspect_ratio = <8>;

	dev0_output_type         = <1>;
	dev0_output_mode         = <4>;
	dev0_screen_id           = <0>;
	dev0_do_hpd              = <0>;

	dev1_output_type         = <4>;
	dev1_output_mode         = <10>;
	dev1_screen_id           = <1>;
	dev1_do_hpd              = <1>;

	def_output_dev           = <0>;
	hdmi_mode_check          = <1>;

	fb0_format               = <0>;
	fb0_width                = <0>;
	fb0_height               = <0>;

	fb1_format               = <0>;
	fb1_width                = <0>;
	fb1_height               = <0>;
	chn_cfg_mode             = <1>;

	disp_para_zone           = <1>;
	/*VCC-LCD*/
/*	dc1sw-supply = <&reg_dc1sw>;*/
	/*VCC-DSI*/
/*	eldo3-supply = <&reg_eldo3>;*/
	/*VCC-PD*/
/*	dcdc1-supply = <&reg_dcdc1>;*/
};

/*----------------------------------------------------------------------------------
;lcd0 configuration

;lcd_if:               0:hv(sync+de); 1:8080; 2:ttl; 3:lvds; 4:dsi; 5:edp; 6:extend dsi
;lcd_hv_if             0:Parallel RGB; 8:Serial RGB; 10:Dummy RGB; 11: RGB Dummy;12:CCIR656
;lcd_hv_clk_phase      0:0 degree;1:90 degree;2:180 degree;3:270 degree
;lcd_hv_sync_polarity  0:vs low,hs low; 1:vs high,hslow; 2:vs low,hs high; 3:vs high,hs high
;lcd_hv_syuv_seq       0:YUYV; 1:YVYU; 2:UYVY; 3:VYUY
;lcd_cpu_if            0:18bit/1 cycle parallel(RGB666); 4:16bit/1cycle parallel (RGB565)
;                      6:18bit/3 cycle parallel(RGB666); 7:16bit/2cycle parallel (RGB565)
;lcd_cpu_te            0:frame auto trigger; 1:frame triggered by te rising edge; 2:frame triggered by te falling edge;
;lcd_dsi_if            0:video mode; 1: Command mode; 2:video burst mode
;lcd_dsi_te            0:frame auto trigger; 1:frame triggered by te rising edge; 2:frame triggered by te falling edge;
;lcd_x:                lcd horizontal resolution
;lcd_y:                lcd vertical resolution
;lcd_width:            width of lcd in mm
;lcd_height:           height of lcd in mm
;lcd_dclk_freq:        in MHZ unit
;lcd_pwm_freq:         in HZ unit
;lcd_pwm_pol:          lcd backlight PWM polarity
;lcd_pwm_max_limit     lcd backlight PWM max limit(<=255)
;lcd_hbp:              hsync back porch(pixel) + hsync plus width(pixel);
;lcd_ht:               hsync total cycle(pixel)
;lcd_vbp:              vsync back porch(line) + vysnc plus width(line)
;lcd_vt:               vysnc total cycle(line)
;lcd_hspw:             hsync plus width(pixel)
;lcd_vspw:             vysnc plus width(pixel)
;lcd_lvds_if:          0:single link;  1:dual link
;lcd_lvds_colordepth:  0:8bit; 1:6bit
;lcd_lvds_mode:        0:NS mode; 1:JEIDA mode
;lcd_frm:              0:disable; 1:enable rgb666 dither; 2:enable rgb656 dither
;lcd_io_phase:         0:noraml; 1:intert phase(0~3bit: vsync phase; 4~7bit:hsync phase;
;                      8~11bit:dclk phase; 12~15bit:de phase)
;lcd_gamma_en          lcd gamma correction enable
;lcd_bright_curve_en   lcd bright curve correction enable
;lcd_cmap_en           lcd color map function enable
;deu_mode              0:smoll lcd screen; 1:large lcd screen(larger than 10inch)
;lcdgamma4iep:         Smart Backlight parameter, lcd gamma vale * 10;
;                      decrease it while lcd is not bright enough; increase while lcd is too bright
;smart_color           90:normal lcd screen 65:retina lcd screen(9.7inch)
;Pin setting for special function ie.LVDS, RGB data or vsync
;   name(donot care) = port:PD12<pin function><pull up or pull down><drive ability><output level>
;Pin setting for gpio:
;   lcd_gpio_X     = port:PD12<pin function><pull up or pull down><drive ability><output level>
;Pin setting for backlight enable pin
;   lcd_bl_en     = port:PD12<pin function><pull up or pull down><drive ability><output level>
;fsync setting, pulse to csi
;lcd_fsync_en          (0:disable fsync,1:enable)
;lcd_fsync_act_time    (active time of fsync, unit:pixel)
;lcd_fsync_dis_time    (disactive time of fsync, unit:pixel)
;lcd_fsync_pol         (0:positive;1:negative)
;gpio config: <&pio for cpu or &r_pio for cpus, port, port num, pio function,
pull up or pull down(default 0), driver level(default 1), data>
;For dual link lvds: use lvds2link_pins_a  and lvds2link_pins_b instead
;For rgb24: use rgb24_pins_a  and rgb24_pins_b instead
;For lvds1: use lvds1_pins_a  and lvds1_pins_b instead
;For lvds0: use lvds0_pins_a  and lvds0_pins_b instead
;----------------------------------------------------------------------------------*/
&lcd0 {
	lcd_used            = <1>;

	lcd_driver_name     = "default_lcd";
	lcd_backlight       = <100>;
	lcd_if              = <0>;

	lcd_x               = <480>;
	lcd_y               = <272>;
	lcd_width           = <150>;
	lcd_height          = <94>;
	lcd_dclk_freq       = <24>;
	lcd_hv_clk_phase    = <0>;
	lcd_hv_sync_polarity= <3>;

	lcd_pwm_used        = <1>;
	lcd_pwm_ch          = <7>;
	lcd_pwm_freq        = <500>;
	lcd_pwm_pol         = <0>;

	lcd_hbp             = <46>;
	lcd_ht              = <1055>;
	lcd_hspw            = <0>;
	lcd_vbp             = <23>;
	lcd_vt              = <525>;
	lcd_vspw            = <0>;

	lcd_lvds_if         = <0>;
	lcd_lvds_colordepth = <1>;
	lcd_lvds_mode       = <0>;
	lcd_frm             = <1>;
	lcd_io_phase        = <0x0000>;
	lcd_gamma_en        = <0>;
	lcd_bright_curve_en = <0>;
	lcd_cmap_en         = <0>;

	pinctrl-0 = <&rgb18_pins_a>;
	pinctrl-1 = <&rgb18_pins_b>;
};

&hdmi {
	hdmi_used = <0>;
	hdmi_power_cnt = <0>;
	hdmi_cts_compatibility = <1>;
	hdmi_hdcp_enable = <1>;
	hdmi_hdcp22_enable = <0>;
	hdmi_cec_support = <1>;
	hdmi_cec_super_standby = <0>;

	ddc_en_io_ctrl = <0>;
	power_io_ctrl = <0>;
};

&pwm0 {
	pinctrl-names = "active", "sleep";
	pinctrl-0 = <&pwm0_pin_a>;
	pinctrl-1 = <&pwm0_pin_b>;
	status = "okay";
};

&pwm2 {
	pinctrl-names = "active", "sleep";
	pinctrl-0 = <&pwm2_pin_a>;
	pinctrl-1 = <&pwm2_pin_b>;
	status = "okay";
};

&pwm7 {
	pinctrl-names = "active", "sleep";
	pinctrl-0 = <&pwm7_pin_a>;
	pinctrl-1 = <&pwm7_pin_b>;
	status = "okay";
};

&rtp {
	allwinner,tp-sensitive-adjust = <0xf>;
	allwinner,filter-type = <0x1>;
	allwinner,ts-attached;
	status = "disabled";
};

&tpadc {
	key_cnt = <5>;
	key1 = <420 115>;
	key2 = <870 114>;
	key3 = <1290 119>;
	key4 = <1630 373>;
	key5 = <1950 28>;
	status = "disabled";
};

&gpadc {
	channel_num = <1>;
	channel_select = <0x01>;
	channel_data_select = <0>;
	channel_compare_select = <0x01>;
	channel_cld_select = <0x01>;
	channel_chd_select = <0>;
	channel0_compare_lowdata = <1600000>;
	channel0_compare_higdata = <1200000>;
	channel1_compare_lowdata = <460000>;
	channel1_compare_higdata = <1200000>;
	key_cnt = <5>;
	key0_vol = <210>;
	key0_val = <0x19c>;
	key1_vol = <410>;
	key1_val = <0x197>;
	key2_vol = <590>;
	key2_val = <158>;
	key3_vol = <750>;
	key3_val = <28>;
	key4_vol = <880>;
	key4_val = <28>;
	status = "okay";
	wakeup-source;
};

&s_cir0 {
	pinctrl-names = "default", "sleep";
	pinctrl-0 = <&s_cir0_pins_a>;
	pinctrl-1 = <&s_cir0_pins_b>;
	ir_protocol_used		= <0>;
	ir_addr_code0			= <0x0>;
	status = "disabled";
};

&ir1 {
	pinctrl-names = "default", "sleep";
	pinctrl-0 = <&ir1_pins_a>;
	pinctrl-1 = <&ir1_pins_b>;
	status = "disabled";
};
